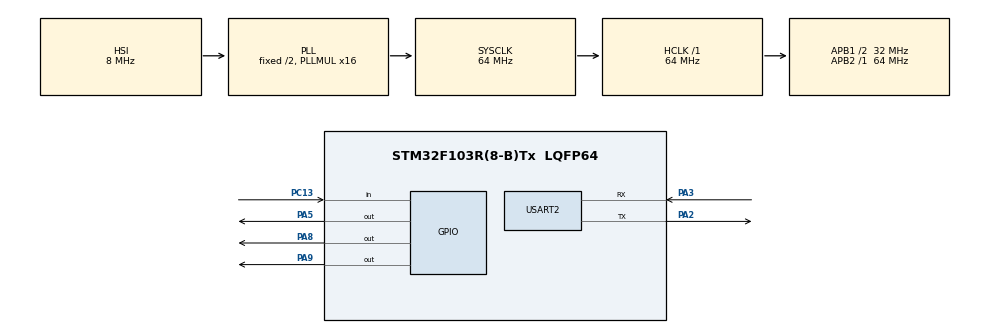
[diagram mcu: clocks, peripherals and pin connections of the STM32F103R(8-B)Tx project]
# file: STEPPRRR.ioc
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Mcu.Family=STM32F1
Mcu.Name=STM32F103R(8-B)Tx
Mcu.Package=LQFP64
NVIC.PriorityGroup=NVIC_PRIORITYGROUP_4
PA13.Mode=Serial_Wire
PA13.Signal=SYS_JTMS-SWDIO
PA14.Mode=Serial_Wire
PA14.Signal=SYS_JTCK-SWCLK
PA2.Mode=Asynchronous
PA2.Signal=USART2_TX
PA3.Mode=Asynchronous
PA3.Signal=USART2_RX
PA5.Signal=GPIO_Output
PA8.Signal=GPIO_Output
PA9.Signal=GPIO_Output
PC13-TAMPER-RTC.Signal=GPIO_Input
PC14-OSC32_IN.Mode=LSE-External-Oscillator
PC14-OSC32_IN.Signal=RCC_OSC32_IN
PC15-OSC32_OUT.Mode=LSE-External-Oscillator
PC15-OSC32_OUT.Signal=RCC_OSC32_OUT
PD0-OSC_IN.Mode=HSE-External-Oscillator
PD0-OSC_IN.Signal=RCC_OSC_IN
PD1-OSC_OUT.Mode=HSE-External-Oscillator
PD1-OSC_OUT.Signal=RCC_OSC_OUT
ProjectManager.HeapSize=0x200
ProjectManager.StackSize=0x400
ProjectManager.TargetToolchain=STM32CubeIDE
RCC.AHBFreq_Value=64000000
RCC.APB1CLKDivider=RCC_HCLK_DIV2
RCC.APB1Freq_Value=32000000
RCC.APB1TimFreq_Value=64000000
RCC.APB2Freq_Value=64000000
RCC.APB2TimFreq_Value=64000000
RCC.HCLKFreq_Value=64000000
RCC.PLLMUL=RCC_PLL_MUL16
RCC.RTCClockSelection=RCC_RTCCLKSOURCE_LSE
RCC.SYSCLKFreq_VALUE=64000000
RCC.SYSCLKSource=RCC_SYSCLKSOURCE_PLLCLK
RCC.USBFreq_Value=64000000
TIM1.Prescaler=71
USART2.VirtualMode=VM_ASYNC
VP_TIM1_VS_ClockSourceINT.Mode=Internal
board=NUCLEO-F103RB

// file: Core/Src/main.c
/* USER CODE BEGIN Header */
/**
  ******************************************************************************
  * @file           : main.c
  * @brief          : Main program body
  ******************************************************************************
  * @attention
  *
  * Copyright (c) 2026 STMicroelectronics.
  * All rights reserved.
  *
  * This software is licensed under terms that can be found in the LICENSE file
  * in the root directory of this software component.
  * If no LICENSE file comes with this software, it is provided AS-IS.
  *
  ******************************************************************************
  */
/* USER CODE END Header */
#include "main.h"
#include<stdio.h>

TIM_HandleTypeDef htim1;

UART_HandleTypeDef huart2;

/* USER CODE BEGIN PV */
/* USER CODE BEGIN PV */
#define STEP_PIN GPIO_PIN_8
#define STEP_PORT GPIOA
#define DIR_PIN GPIO_PIN_9
#define DIR_PORT GPIOA
#define BTN_PIN GPIO_PIN_13
#define BTN_PORT GPIOC

// Gearbox Constants (19:1 ratio)
#define STEPS_PER_REV 200
#define MICROSTEPPING 8
#define GEAR_RATIO 19
const long FULL_OUTPUT_REV = STEPS_PER_REV * MICROSTEPPING * GEAR_RATIO;

uint16_t currentSpeed = 800;
/* USER CODE END PV */

void SystemClock_Config(void);
static void MX_GPIO_Init(void);
static void MX_USART2_UART_Init(void);
static void MX_TIM1_Init(void);

/* USER CODE BEGIN 0 */
#ifdef __GNUC__
#define PUTCHAR_PROTOTYPE int __io_putchar(int ch)
#else
#define PUTCHAR_PROTOTYPE int fputc(int ch, FILE *f)
#endif
PUTCHAR_PROTOTYPE {
  HAL_UART_Transmit(&huart2, (uint8_t *)&ch, 1, HAL_MAX_DELAY);
  return ch;
}

// Microsecond delay using TIM1 (Prescaler must be 71 for 72MHz)
void microDelay(uint16_t delay) {
    __HAL_TIM_SET_COUNTER(&htim1, 0);
    while (__HAL_TIM_GET_COUNTER(&htim1) < delay);
}

// TB6600 Driver Function
void stepMotor(long steps, uint16_t delay, int direction) {
    HAL_GPIO_WritePin(DIR_PORT, DIR_PIN, (direction == 1) ? GPIO_PIN_SET : GPIO_PIN_RESET);
    printf("Starting Movement: %ld steps, Dir: %d\n", steps, direction);

    for (long x = 0; x < steps; x++) {
        HAL_GPIO_WritePin(STEP_PORT, STEP_PIN, GPIO_PIN_SET);
        microDelay(delay);
        HAL_GPIO_WritePin(STEP_PORT, STEP_PIN, GPIO_PIN_RESET);
        microDelay(delay);

        // Print progress every 5000 steps so console isn't flooded
        if (x % 5000 == 0 && x > 0) printf("Completed %ld steps...\n", x);
    }
    printf("Movement Finished.\n");
}
/* USER CODE END 0 */

int main(void)
{

  /* MCU Configuration--------------------------------------------------------*/

  /* Reset of all peripherals, Initializes the Flash interface and the Systick. */
  HAL_Init();

  /* Configure the system clock */
  SystemClock_Config();

  /* Initialize all configured peripherals */
  MX_GPIO_Init();
  MX_USART2_UART_Init();
  MX_TIM1_Init();
  /* USER CODE BEGIN 2 */
  HAL_TIM_Base_Start(&htim1); // Turn on the microsecond timer
    printf("System Ready! Press the Blue Button to start.\n");
  /* USER CODE END 2 */

  /* Infinite loop */
  while (1)
  {

  }
}

void SystemClock_Config(void)
{
  RCC_OscInitTypeDef RCC_OscInitStruct = {0};
  RCC_ClkInitTypeDef RCC_ClkInitStruct = {0};

  /** Initializes the RCC Oscillators according to the specified parameters
  * in the RCC_OscInitTypeDef structure.
  */
  RCC_OscInitStruct.OscillatorType = RCC_OSCILLATORTYPE_HSI;
  RCC_OscInitStruct.HSIState = RCC_HSI_ON;
  RCC_OscInitStruct.HSICalibrationValue = RCC_HSICALIBRATION_DEFAULT;
  RCC_OscInitStruct.PLL.PLLState = RCC_PLL_ON;
  RCC_OscInitStruct.PLL.PLLSource = RCC_PLLSOURCE_HSI_DIV2;
  RCC_OscInitStruct.PLL.PLLMUL = RCC_PLL_MUL16;
  if (HAL_RCC_OscConfig(&RCC_OscInitStruct) != HAL_OK)
  {
    Error_Handler();
  }

  /** Initializes the CPU, AHB and APB buses clocks
  */
  RCC_ClkInitStruct.ClockType = RCC_CLOCKTYPE_HCLK|RCC_CLOCKTYPE_SYSCLK
                              |RCC_CLOCKTYPE_PCLK1|RCC_CLOCKTYPE_PCLK2;
  RCC_ClkInitStruct.SYSCLKSource = RCC_SYSCLKSOURCE_PLLCLK;
  RCC_ClkInitStruct.AHBCLKDivider = RCC_SYSCLK_DIV1;
  RCC_ClkInitStruct.APB1CLKDivider = RCC_HCLK_DIV2;
  RCC_ClkInitStruct.APB2CLKDivider = RCC_HCLK_DIV1;

  if (HAL_RCC_ClockConfig(&RCC_ClkInitStruct, FLASH_LATENCY_2) != HAL_OK)
  {
    Error_Handler();
  }
}

static void MX_TIM1_Init(void)
{

  TIM_ClockConfigTypeDef sClockSourceConfig = {0};
  TIM_MasterConfigTypeDef sMasterConfig = {0};

  htim1.Instance = TIM1;
  htim1.Init.Prescaler = 71;
  htim1.Init.CounterMode = TIM_COUNTERMODE_UP;
  htim1.Init.Period = 65535;
  htim1.Init.ClockDivision = TIM_CLOCKDIVISION_DIV1;
  htim1.Init.RepetitionCounter = 0;
  htim1.Init.AutoReloadPreload = TIM_AUTORELOAD_PRELOAD_DISABLE;
  if (HAL_TIM_Base_Init(&htim1) != HAL_OK)
  {
    Error_Handler();
  }
  sClockSourceConfig.ClockSource = TIM_CLOCKSOURCE_INTERNAL;
  if (HAL_TIM_ConfigClockSource(&htim1, &sClockSourceConfig) != HAL_OK)
  {
    Error_Handler();
  }
  sMasterConfig.MasterOutputTrigger = TIM_TRGO_RESET;
  sMasterConfig.MasterSlaveMode = TIM_MASTERSLAVEMODE_DISABLE;
  if (HAL_TIMEx_MasterConfigSynchronization(&htim1, &sMasterConfig) != HAL_OK)
  {
    Error_Handler();
  }

}

static void MX_USART2_UART_Init(void)
{

  huart2.Instance = USART2;
  huart2.Init.BaudRate = 115200;
  huart2.Init.WordLength = UART_WORDLENGTH_8B;
  huart2.Init.StopBits = UART_STOPBITS_1;
  huart2.Init.Parity = UART_PARITY_NONE;
  huart2.Init.Mode = UART_MODE_TX_RX;
  huart2.Init.HwFlowCtl = UART_HWCONTROL_NONE;
  huart2.Init.OverSampling = UART_OVERSAMPLING_16;
  if (HAL_UART_Init(&huart2) != HAL_OK)
  {
    Error_Handler();
  }

}

static void MX_GPIO_Init(void)
{
  GPIO_InitTypeDef GPIO_InitStruct = {0};

  /* GPIO Ports Clock Enable */
  __HAL_RCC_GPIOC_CLK_ENABLE();
  __HAL_RCC_GPIOD_CLK_ENABLE();
  __HAL_RCC_GPIOA_CLK_ENABLE();

  /*Configure GPIO pin Output Level */
  HAL_GPIO_WritePin(GPIOA, GPIO_PIN_5|GPIO_PIN_8|GPIO_PIN_9, GPIO_PIN_RESET);

  /*Configure GPIO pin : PC13 */
  GPIO_InitStruct.Pin = GPIO_PIN_13;
  GPIO_InitStruct.Mode = GPIO_MODE_INPUT;
  GPIO_InitStruct.Pull = GPIO_NOPULL;
  HAL_GPIO_Init(GPIOC, &GPIO_InitStruct);

  /*Configure GPIO pins : PA5 PA8 PA9 */
  GPIO_InitStruct.Pin = GPIO_PIN_5|GPIO_PIN_8|GPIO_PIN_9;
  GPIO_InitStruct.Mode = GPIO_MODE_OUTPUT_PP;
  GPIO_InitStruct.Pull = GPIO_NOPULL;
  GPIO_InitStruct.Speed = GPIO_SPEED_FREQ_LOW;
  HAL_GPIO_Init(GPIOA, &GPIO_InitStruct);

}

void Error_Handler(void)
{
  __disable_irq();
  while (1)
  {
  }
}
